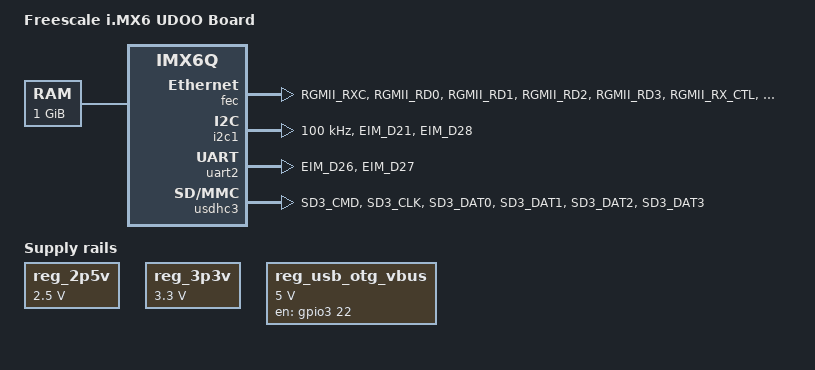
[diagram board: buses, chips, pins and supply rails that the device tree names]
/*
 * Copyright 2014 Raphaël Poggi
 * Copyright 2011 Freescale Semiconductor, Inc.
 * Copyright 2011 Linaro Ltd.
 *
 * The code contained herein is licensed under the GNU General Public
 * License. You may obtain a copy of the GNU General Public License
 * Version 2 or later at the following locations:
 *
 * http://www.opensource.org/licenses/gpl-license.html
 * http://www.gnu.org/copyleft/gpl.html
 */

#include <dt-bindings/gpio/gpio.h>
#include <dt-bindings/input/input.h>

/ {
	model = "Freescale i.MX6 UDOO Board";
	compatible = "udoo,imx6qdl-udoo", "fsl,imx6q";

	chosen {
		stdout-path = &uart2;
	};

	memory {
		reg = <0x10000000 0x40000000>;
	};

	regulators {
		compatible = "simple-bus";
		#address-cells = <1>;
		#size-cells = <0>;

		reg_2p5v: regulator@0 {
			compatible = "regulator-fixed";
			reg = <0>;
			regulator-name = "2P5V";
			regulator-min-microvolt = <2500000>;
			regulator-max-microvolt = <2500000>;
			regulator-always-on;
		};

		reg_3p3v: regulator@1 {
			compatible = "regulator-fixed";
			reg = <1>;
			regulator-name = "3P3V";
			regulator-min-microvolt = <3300000>;
			regulator-max-microvolt = <3300000>;
			regulator-always-on;
		};

		reg_usb_otg_vbus: regulator@2 {
			compatible = "regulator-fixed";
			reg = <2>;
			regulator-name = "usb_otg_vbus";
			regulator-min-microvolt = <5000000>;
			regulator-max-microvolt = <5000000>;
			gpio = <&gpio3 22 GPIO_ACTIVE_HIGH>;
			enable-active-high;
		};
	};
};

&fec {
	pinctrl-names = "default";
	pinctrl-0 = <&pinctrl_enet>;
	phy-reset-gpios = <&gpio3 23 GPIO_ACTIVE_LOW>;
	status = "okay";
};

&i2c1 {
	clock-frequency = <100000>;
	pinctrl-names = "default";
	pinctrl-0 = <&pinctrl_i2c1>;
	status = "okay";
};

&iomuxc {
	pinctrl-names = "default";
	pinctrl-0 = <&pinctrl_hog>;

	imx6q-udoo {
		pinctrl_hog: hoggrp {
			fsl,pins = <
				/* SGTL5000 sys_mclk */
				MX6QDL_PAD_GPIO_0__CCM_CLKO1    0x030b0
			>;
		};

		pinctrl_enet: enetgrp {
			fsl,pins = <
				MX6QDL_PAD_RGMII_RXC__RGMII_RXC		0x1b0b0
				MX6QDL_PAD_RGMII_RD0__RGMII_RD0		0x1b0b0
				MX6QDL_PAD_RGMII_RD1__RGMII_RD1		0x1b0b0
				MX6QDL_PAD_RGMII_RD2__RGMII_RD2		0x1b0b0
				MX6QDL_PAD_RGMII_RD3__RGMII_RD3		0x1b0b0
				MX6QDL_PAD_RGMII_RX_CTL__RGMII_RX_CTL	0x1b0b0
				MX6QDL_PAD_RGMII_TXC__RGMII_TXC		0x1b0b0
				MX6QDL_PAD_RGMII_TD0__RGMII_TD0		0x1b0b0
				MX6QDL_PAD_RGMII_TD1__RGMII_TD1		0x1b0b0
				MX6QDL_PAD_RGMII_TD2__RGMII_TD2		0x1b0b0
				MX6QDL_PAD_RGMII_TD3__RGMII_TD3		0x1b0b0
				MX6QDL_PAD_RGMII_TX_CTL__RGMII_TX_CTL	0x1b0b0
				MX6QDL_PAD_ENET_REF_CLK__ENET_TX_CLK	0x1b0b0
				MX6QDL_PAD_ENET_MDIO__ENET_MDIO		0x1b0b0
				MX6QDL_PAD_ENET_MDC__ENET_MDC		0x1b0b0
			>;
		};

		pinctrl_i2c1: i2c1grp {
			fsl,pins = <
				MX6QDL_PAD_EIM_D21__I2C1_SCL		0x4001b8b1
				MX6QDL_PAD_EIM_D28__I2C1_SDA		0x4001b8b1
			>;
		};

		pinctrl_uart2: uart2grp {
			fsl,pins = <
				MX6QDL_PAD_EIM_D26__UART2_TX_DATA	0x1b0b1
				MX6QDL_PAD_EIM_D27__UART2_RX_DATA	0x1b0b1
			>;
		};

		pinctrl_usdhc3: usdhc3grp {
			fsl,pins = <
				MX6QDL_PAD_SD3_CMD__SD3_CMD		0x17059
				MX6QDL_PAD_SD3_CLK__SD3_CLK		0x10059
				MX6QDL_PAD_SD3_DAT0__SD3_DATA0		0x17059
				MX6QDL_PAD_SD3_DAT1__SD3_DATA1		0x17059
				MX6QDL_PAD_SD3_DAT2__SD3_DATA2		0x17059
				MX6QDL_PAD_SD3_DAT3__SD3_DATA3		0x17059
			>;
		};
	};
};

&uart2 {
	pinctrl-names = "default";
	pinctrl-0 = <&pinctrl_uart2>;
	status = "okay";
};

&usdhc3 {
	pinctrl-names = "default";
	pinctrl-0 = <&pinctrl_usdhc3>;
	status = "okay";
};
